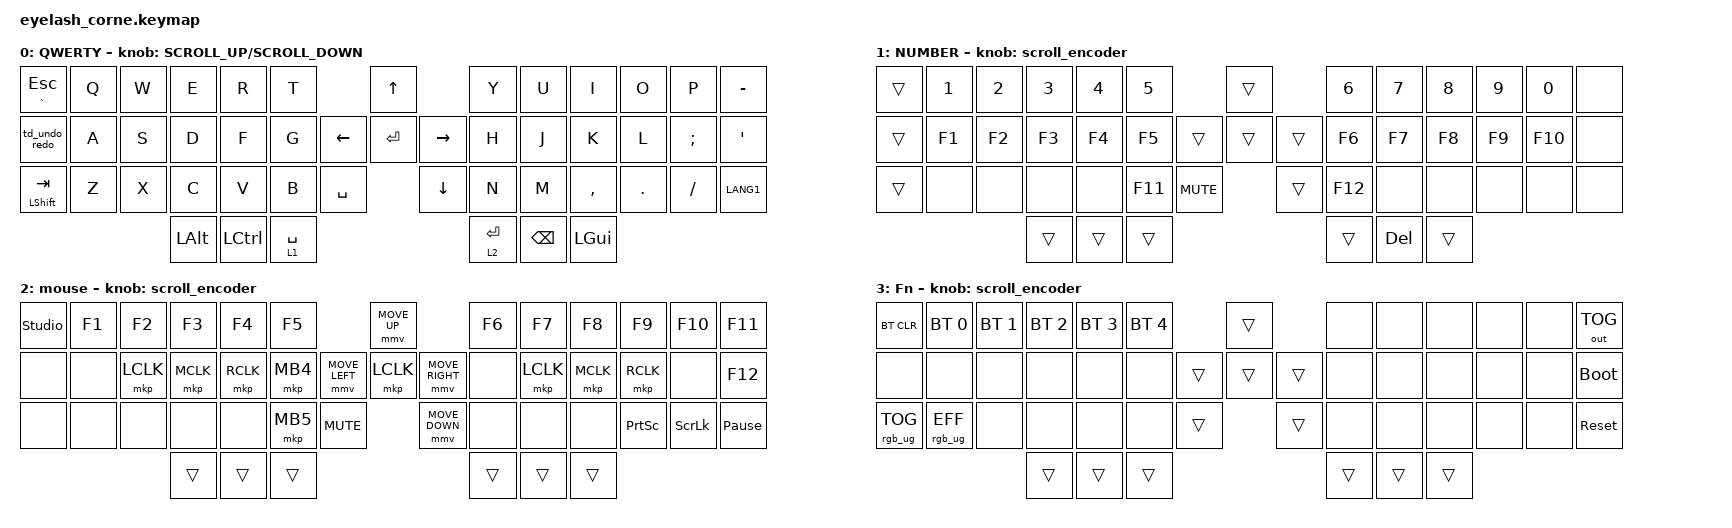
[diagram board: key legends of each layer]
#define ZMK_POINTING_DEFAULT_MOVE_VAL 1200  // 600
#define ZMK_POINTING_DEFAULT_SCRL_VAL 25   // 10

#include <input/processors.dtsi>
#include <zephyr/dt-bindings/input/input-event-codes.h>
#include <behaviors.dtsi>
#include <dt-bindings/zmk/bt.h>
#include <dt-bindings/zmk/keys.h>
#include <dt-bindings/zmk/outputs.h>
#include <dt-bindings/zmk/pointing.h>
#include <dt-bindings/zmk/rgb.h>

&mmv_input_listener { input-processors = <&zip_xy_scaler 2 1>; };

&msc_input_listener { input-processors = <&zip_scroll_scaler 2 1>; };

&msc {
    acceleration-exponent = <1>;      // 0
    time-to-max-speed-ms = <100>;       // 300
    delay-ms = <0>;                   // 0
};

&mmv {
    time-to-max-speed-ms = <500>;
    acceleration-exponent = <1>;
    trigger-period-ms = <16>;
};

/ {
    behaviors {
        hml: homerow_mods_left {
            compatible = "zmk,behavior-hold-tap";
            bindings = <&kp>, <&kp>;

            #binding-cells = <2>;
            require-prior-idle-ms = <150>;
            tapping-term-ms = <280>;
            quick-tap-ms = <175>;
            flavor = "tap-preferred";
            hold-trigger-key-positions = <1 2 3 4 5 14 15 16 17 18 29 30 31 32 33 0 1 2 3 4 5 13 14 15 16 17 18 28 29 30 31 32 33 42 43 44>;
            hold-trigger-on-release;
        };

        hmr: homerow_mods_right {
            compatible = "zmk,behavior-hold-tap";
            bindings = <&kp>, <&kp>;

            #binding-cells = <2>;
            require-prior-idle-ms = <150>;
            tapping-term-ms = <280>;
            quick-tap-ms = <175>;
            flavor = "tap-preferred";
            hold-trigger-key-positions = <7 8 9 10 11 12 22 23 24 25 26 27 36 37 38 39 40 41 45 46 47>;
            hold-trigger-on-release;
        };

        // Swapper for smart alt+tab

        swapper: swapper {
            compatible = "zmk,behavior-smart-toggle";
            #binding-cells = <0>;
            bindings = <&kp LALT>, <&kp TAB>;
        };

        ht_sw: ht_sw {
            compatible = "zmk,behavior-hold-tap";
            #binding-cells = <2>;
            tapping-term-ms = <150>;
            flavor = "hold-preferred";
            bindings = <&kp>, <&swapper>;
        };

        rst_boot: rst_boot {
            compatible = "zmk,behavior-hold-tap";
            #binding-cells = <2>;
            tapping-term-ms = <500>;
            flavor = "tap-preferred";
            bindings = <&bootloader>, <&sys_reset>;
        };

        td_undo_redo: td_undo_redo {
            compatible = "zmk,behavior-tap-dance";
            label = "UNDO/REDO";
            #binding-cells = <0>;
            bindings = <&kp LC(Z)>, <&kp LC(LS(Z))>;
        };

        // Auto shift

        as_ht: autoshift_hold_tap {
            compatible = "zmk,behavior-hold-tap";
            label = "AUTOSHIFT_HOLD_TAP";
            #binding-cells = <2>;
            tapping-term-ms = <135>;
            flavor = "tap-preferred";
            bindings = <&shifted>, <&kp>;
        };

        as: autoshift {
            compatible = "zmk,behavior-macro-one-param";
            #binding-cells = <1>;
            label = "AUTOSHIFT_KP";
            bindings =
                <&macro_press>,
                <&macro_param_1to1 &macro_param_1to2 &as_ht MACRO_PLACEHOLDER MACRO_PLACEHOLDER>,
                <&macro_pause_for_release>,
                <&macro_release>,
                <&macro_param_1to1 &macro_param_1to2 &as_ht MACRO_PLACEHOLDER MACRO_PLACEHOLDER>;
        };
    };

    macros {
        // Auto shift

        shifted: macro_shifted_kp {
            #binding-cells = <1>;
            label = "MACRO_SHIFTED_KP";
            compatible = "zmk,behavior-macro-one-param";
            bindings =
                <&macro_press>,
                <&kp LSHFT &macro_param_1to1>,
                <&macro_tap>,
                <&kp MACRO_PLACEHOLDER>,
                <&macro_release>,
                <&kp LSHFT>;
        };
    };

    combos {
        compatible = "zmk,combos";

        cut {
            bindings = <&kp LC(X)>;
            key-positions = <29 30>;
            layers = <0>;
        };
        copy {
            bindings = <&kp LC(C)>;
            key-positions = <30 31>;
            layers = <0>;
        };
        paste {
            bindings = <&kp LC(V)>;
            key-positions = <31 32>;
            layers = <0>;
        };
    };

    rgb_encoder: rgb_encoder {
        compatible = "zmk,behavior-sensor-rotate";
        #sensor-binding-cells = <0>;
        bindings = <&rgb_ug RGB_BRI>, <&rgb_ug RGB_BRD>;
    };

    scroll_encoder: scroll_encoder {
        compatible = "zmk,behavior-sensor-rotate";
        #sensor-binding-cells = <0>;
        bindings = <&msc SCRL_DOWN>, <&msc SCRL_UP>;

        tap-ms = <100>;
    };

    keymap {
        compatible = "zmk,keymap";

        default_layer {
            display-name = "QWERTY";
            bindings = <
&hml GRAVE ESC       &kp Q  &kp W  &kp E         &kp R      &kp T                               &kp UP                &kp Y        &kp U          &kp I         &kp O    &kp P     &kp MINUS
&td_undo_redo        &kp A  &kp S  &kp D         &kp F      &kp G                     &kp LEFT  &kp ENTER  &kp RIGHT  &kp H        &kp J          &kp K         &kp L    &kp SEMI  &kp SQT
&hml LEFT_SHIFT TAB  &kp Z  &kp X  &kp C         &kp V      &kp B        &kp SPACE              &kp DOWN              &kp N        &kp M          &kp COMMA     &kp DOT  &kp FSLH  &kp LANG1
                                   &kp LEFT_ALT  &kp LCTRL  &lt 1 SPACE                                               &lt 2 ENTER  &kp BACKSPACE  &kp LEFT_GUI
            >;

            sensor-bindings = <&inc_dec_kp K_SCROLL_UP K_SCROLL_DOWN>;
        };

        number_layer {
            display-name = "NUMBER";
            bindings = <
&trans  &kp N1  &kp N2  &kp N3  &kp N4  &kp N5                         &trans          &kp N6   &kp N7   &kp N8  &kp N9  &kp N0   &none
&trans  &kp F1  &kp F2  &kp F3  &kp F4  &kp F5                 &trans  &trans  &trans  &kp F6   &kp F7   &kp F8  &kp F9  &kp F10  &none
&trans  &none   &none   &none   &none   &kp F11  &kp C_MUTE            &trans          &kp F12  &none    &none   &none   &none    &none
                        &trans  &trans  &trans                                         &trans   &kp DEL  &trans
            >;

            sensor-bindings = <&scroll_encoder>;
        };

        mouse_layer {
            display-name = "mouse";
            bindings = <
&studio_unlock  &kp F1  &kp F2     &kp F3     &kp F4     &kp F5                                  &mmv MOVE_UP                     &kp F6  &kp F7     &kp F8     &kp F9           &kp F10         &kp F11
&none           &none   &mkp LCLK  &mkp MCLK  &mkp RCLK  &mkp MB4                &mmv MOVE_LEFT  &mkp LCLK       &mmv MOVE_RIGHT  &none   &mkp LCLK  &mkp MCLK  &mkp RCLK        &none           &kp F12
&none           &none   &none      &none      &none      &mkp MB5  &kp C_MUTE                    &mmv MOVE_DOWN                   &none   &none      &none      &kp PRINTSCREEN  &kp SCROLLLOCK  &kp PAUSE_BREAK
                                   &trans     &trans     &trans                                                                   &trans  &trans     &trans
            >;

            sensor-bindings = <&scroll_encoder>;
        };

        setting_layer {
            display-name = "Fn";
            bindings = <
&bt BT_CLR       &bt BT_SEL 0     &bt BT_SEL 1  &bt BT_SEL 2  &bt BT_SEL 3  &bt BT_SEL 4                    &trans          &none   &none   &none   &none  &none  &out OUT_TOG
&none            &none            &none         &none         &none         &none                   &trans  &trans  &trans  &none   &none   &none   &none  &none  &bootloader
&rgb_ug RGB_TOG  &rgb_ug RGB_EFF  &none         &none         &none         &none         &trans            &trans          &none   &none   &none   &none  &none  &sys_reset
                                                &trans        &trans        &trans                                          &trans  &trans  &trans
            >;

            sensor-bindings = <&scroll_encoder>;
        };
    };
};
